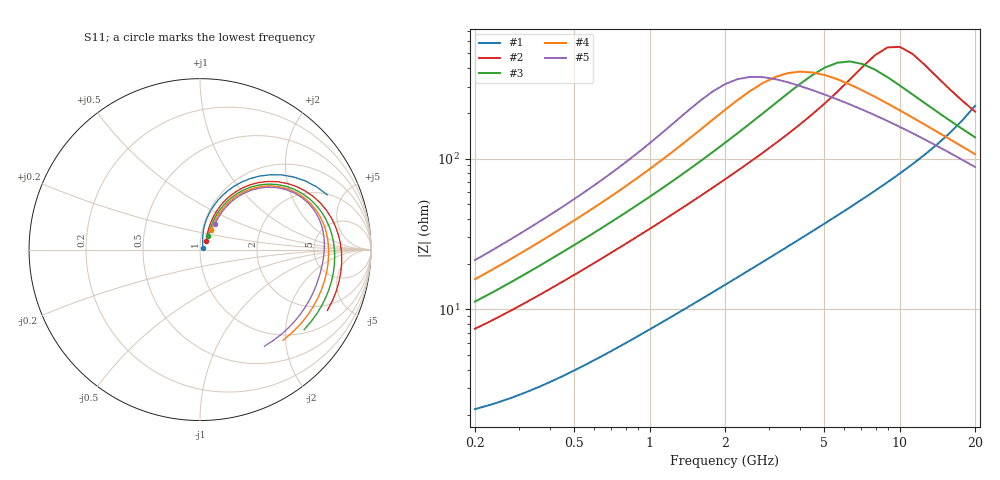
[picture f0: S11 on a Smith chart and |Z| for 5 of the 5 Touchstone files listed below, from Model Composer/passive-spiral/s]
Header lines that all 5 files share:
# GHz S RI R 50
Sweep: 200 MHz to 20 GHz
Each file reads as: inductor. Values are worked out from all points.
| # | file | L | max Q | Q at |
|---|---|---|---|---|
| 1 | spiral_1.5t.s2p | 1.14 nH | 14.5 | 5.637 GHz |
| 2 | spiral_3.5t.s2p | 5.26 nH | 9.03 | 1.262 GHz |
| 3 | spiral_4.5t.s2p | 8.29 nH | 8.1 | 893.4 MHz |
| 4 | spiral_5.5t.s2p | 11.9 nH | 7.45 | 709.6 MHz |
| 5 | spiral_6.5t.s2p | 16.1 nH | 6.9 | 563.7 MHz |
